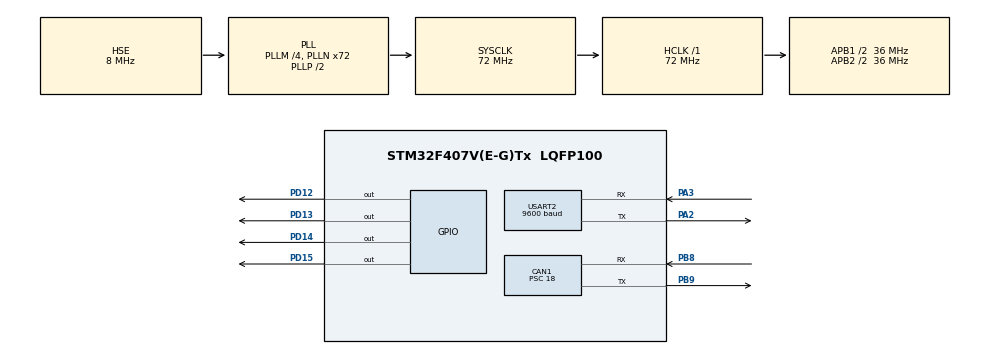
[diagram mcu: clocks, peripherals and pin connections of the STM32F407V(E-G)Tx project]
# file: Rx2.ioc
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CAN1.BS1=CAN_BS1_2TQ
CAN1.CalculateBaudRate=500000
CAN1.CalculateTimeBit=2000
CAN1.CalculateTimeQuantum=500.0
CAN1.Prescaler=18
Mcu.Family=STM32F4
Mcu.Name=STM32F407V(E-G)Tx
Mcu.Package=LQFP100
NVIC.CAN1_RX0_IRQn=true\:0\:0\:false\:false\:true\:true\:true\:true
NVIC.PriorityGroup=NVIC_PRIORITYGROUP_0
PA2.Mode=Asynchronous
PA2.Signal=USART2_TX
PA3.Mode=Asynchronous
PA3.Signal=USART2_RX
PB8.Mode=CAN_Activate
PB8.Signal=CAN1_RX
PB9.Mode=CAN_Activate
PB9.Signal=CAN1_TX
PD12.Signal=GPIO_Output
PD13.Signal=GPIO_Output
PD14.Signal=GPIO_Output
PD15.Signal=GPIO_Output
PH0-OSC_IN.Mode=HSE-External-Oscillator
PH0-OSC_IN.Signal=RCC_OSC_IN
PH1-OSC_OUT.Mode=HSE-External-Oscillator
PH1-OSC_OUT.Signal=RCC_OSC_OUT
ProjectManager.HeapSize=0x200
ProjectManager.StackSize=0x400
ProjectManager.TargetToolchain=STM32CubeIDE
RCC.48MHZClocksFreq_Value=20571428.57142857
RCC.AHBFreq_Value=72000000
RCC.APB1CLKDivider=RCC_HCLK_DIV2
RCC.APB1Freq_Value=36000000
RCC.APB1TimFreq_Value=72000000
RCC.APB2CLKDivider=RCC_HCLK_DIV2
RCC.APB2Freq_Value=36000000
RCC.APB2TimFreq_Value=72000000
RCC.CortexFreq_Value=72000000
RCC.HCLKFreq_Value=72000000
RCC.HSE_VALUE=8000000
RCC.HSI_VALUE=16000000
RCC.LSE_VALUE=32768
RCC.PLLM=4
RCC.PLLN=72
RCC.PLLQ=7
RCC.PLLSourceVirtual=RCC_PLLSOURCE_HSE
RCC.SYSCLKFreq_VALUE=72000000
RCC.SYSCLKSource=RCC_SYSCLKSOURCE_PLLCLK
RCC.VCOOutputFreq_Value=144000000
USART2.BaudRate=9600
USART2.VirtualMode=VM_ASYNC
board=STM32F407G-DISC1

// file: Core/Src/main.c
/* USER CODE BEGIN Header */
/**
  ******************************************************************************
  * @file           : main.c
  * @brief          : Main program body
  ******************************************************************************
  * @attention
  *
  * Copyright (c) 2023 STMicroelectronics.
  * All rights reserved.
  *
  * This software is licensed under terms that can be found in the LICENSE file
  * in the root directory of this software component.
  * If no LICENSE file comes with this software, it is provided AS-IS.
  *
  ******************************************************************************
  */
/* USER CODE END Header */
#include "main.h"

/* USER CODE BEGIN Includes */
#include<stdio.h>
#include<string.h>
/* USER CODE END Includes */

CAN_HandleTypeDef hcan1;
UART_HandleTypeDef huart2;

void SystemClock_Config(void);
static void MX_GPIO_Init(void);
static void MX_CAN1_Init(void);
static void MX_USART2_UART_Init(void);

/* USER CODE BEGIN 0 */
CAN_RxHeaderTypeDef RxHeader;
uint8_t RxData[10];
uint8_t flag =0;
char str[20];

void HAL_CAN_RxFifo0MsgPendingCallback(CAN_HandleTypeDef *hcan){

	HAL_CAN_GetRxMessage(&hcan1, CAN_RX_FIFO0, &RxHeader, RxData);
	HAL_GPIO_WritePin(GPIOD, GPIO_PIN_15, GPIO_PIN_SET); // blue
	flag =1;

}

//void HAL_CAN_RxFifo0MsgPendingCallback(CAN_HandleTypeDef *hcan) {
//  if (HAL_CAN_GetRxMessage(&hcan1, CAN_RX_FIFO0, &RxHeader,RxData) == HAL_OK) {
//    uint16_t receivedValue = (RxData[0] << 8) | RxData[1];
//    char uartTxBuffer[50];
//    sprintf(uartTxBuffer, "Received ADC value: %d\r\n", receivedValue);
//    HAL_UART_Transmit(&huart2, (uint8_t *)uartTxBuffer, strlen(uartTxBuffer), HAL_MAX_DELAY);
//  }
//}
/* USER CODE END 0 */

int main(void)
{

  /* MCU Configuration--------------------------------------------------------*/

  /* Reset of all peripherals, Initializes the Flash interface and the Systick. */
  HAL_Init();

  /* Configure the system clock */
  SystemClock_Config();

  /* Initialize all configured peripherals */
  MX_GPIO_Init();
  MX_CAN1_Init();
  MX_USART2_UART_Init();
  /* USER CODE BEGIN 2 */
  HAL_CAN_Start(&hcan1);
  HAL_CAN_ActivateNotification(&hcan1, CAN_IT_RX_FIFO0_MSG_PENDING);
  HAL_Delay(100);
  /* USER CODE END 2 */

  /* Infinite loop */
  /* USER CODE BEGIN WHILE */
  while (1)
  {
	  		if(flag == 1){
	  			HAL_GPIO_WritePin(GPIOD, GPIO_PIN_14, GPIO_PIN_SET);
	  			sprintf(str,"Rain value is %d\r\n",RxData[0]);
	  			HAL_UART_Transmit(&huart2, (uint8_t *)str, strlen(str), HAL_MAX_DELAY);
	  			HAL_Delay(1000);
	  		}

    /* USER CODE END WHILE */

  }
}

void SystemClock_Config(void)
{
  RCC_OscInitTypeDef RCC_OscInitStruct = {0};
  RCC_ClkInitTypeDef RCC_ClkInitStruct = {0};

  /** Configure the main internal regulator output voltage
  */
  __HAL_RCC_PWR_CLK_ENABLE();
  __HAL_PWR_VOLTAGESCALING_CONFIG(PWR_REGULATOR_VOLTAGE_SCALE1);

  /** Initializes the RCC Oscillators according to the specified parameters
  * in the RCC_OscInitTypeDef structure.
  */
  RCC_OscInitStruct.OscillatorType = RCC_OSCILLATORTYPE_HSE;
  RCC_OscInitStruct.HSEState = RCC_HSE_ON;
  RCC_OscInitStruct.PLL.PLLState = RCC_PLL_ON;
  RCC_OscInitStruct.PLL.PLLSource = RCC_PLLSOURCE_HSE;
  RCC_OscInitStruct.PLL.PLLM = 4;
  RCC_OscInitStruct.PLL.PLLN = 72;
  RCC_OscInitStruct.PLL.PLLP = RCC_PLLP_DIV2;
  RCC_OscInitStruct.PLL.PLLQ = 7;
  if (HAL_RCC_OscConfig(&RCC_OscInitStruct) != HAL_OK)
  {
    Error_Handler();
  }

  /** Initializes the CPU, AHB and APB buses clocks
  */
  RCC_ClkInitStruct.ClockType = RCC_CLOCKTYPE_HCLK|RCC_CLOCKTYPE_SYSCLK
                              |RCC_CLOCKTYPE_PCLK1|RCC_CLOCKTYPE_PCLK2;
  RCC_ClkInitStruct.SYSCLKSource = RCC_SYSCLKSOURCE_PLLCLK;
  RCC_ClkInitStruct.AHBCLKDivider = RCC_SYSCLK_DIV1;
  RCC_ClkInitStruct.APB1CLKDivider = RCC_HCLK_DIV2;
  RCC_ClkInitStruct.APB2CLKDivider = RCC_HCLK_DIV2;

  if (HAL_RCC_ClockConfig(&RCC_ClkInitStruct, FLASH_LATENCY_2) != HAL_OK)
  {
    Error_Handler();
  }
}

static void MX_CAN1_Init(void)
{

  hcan1.Instance = CAN1;
  hcan1.Init.Prescaler = 18;
  hcan1.Init.Mode = CAN_MODE_NORMAL;
  hcan1.Init.SyncJumpWidth = CAN_SJW_1TQ;
  hcan1.Init.TimeSeg1 = CAN_BS1_2TQ;
  hcan1.Init.TimeSeg2 = CAN_BS2_1TQ;
  hcan1.Init.TimeTriggeredMode = DISABLE;
  hcan1.Init.AutoBusOff = DISABLE;
  hcan1.Init.AutoWakeUp = DISABLE;
  hcan1.Init.AutoRetransmission = DISABLE;
  hcan1.Init.ReceiveFifoLocked = DISABLE;
  hcan1.Init.TransmitFifoPriority = DISABLE;
  if (HAL_CAN_Init(&hcan1) != HAL_OK)
  {
    Error_Handler();
  }
  /* USER CODE BEGIN CAN1_Init 2 */
  CAN_FilterTypeDef canFilterConfig;
  canFilterConfig.FilterActivation=CAN_FILTER_ENABLE;
  canFilterConfig.SlaveStartFilterBank=14;
  canFilterConfig.FilterBank=2;
  canFilterConfig.FilterFIFOAssignment=CAN_RX_FIFO0;
  canFilterConfig.FilterScale=CAN_FILTERSCALE_32BIT;
  canFilterConfig.FilterMode=CAN_FILTERMODE_IDMASK;
  canFilterConfig.FilterMaskIdLow=0x0000;
  canFilterConfig.FilterMaskIdHigh=0xFF00;
  canFilterConfig.FilterIdLow=0x0000;
  canFilterConfig.FilterIdHigh=0x1500;
  HAL_CAN_ConfigFilter(&hcan1, &canFilterConfig);
  /* USER CODE END CAN1_Init 2 */

}

static void MX_USART2_UART_Init(void)
{

  huart2.Instance = USART2;
  huart2.Init.BaudRate = 9600;
  huart2.Init.WordLength = UART_WORDLENGTH_8B;
  huart2.Init.StopBits = UART_STOPBITS_1;
  huart2.Init.Parity = UART_PARITY_NONE;
  huart2.Init.Mode = UART_MODE_TX_RX;
  huart2.Init.HwFlowCtl = UART_HWCONTROL_NONE;
  huart2.Init.OverSampling = UART_OVERSAMPLING_16;
  if (HAL_UART_Init(&huart2) != HAL_OK)
  {
    Error_Handler();
  }

}

static void MX_GPIO_Init(void)
{
  GPIO_InitTypeDef GPIO_InitStruct = {0};

  /* GPIO Ports Clock Enable */
  __HAL_RCC_GPIOH_CLK_ENABLE();
  __HAL_RCC_GPIOA_CLK_ENABLE();
  __HAL_RCC_GPIOD_CLK_ENABLE();
  __HAL_RCC_GPIOB_CLK_ENABLE();

  /*Configure GPIO pin Output Level */
  HAL_GPIO_WritePin(GPIOD, GPIO_PIN_12|GPIO_PIN_13|GPIO_PIN_14|GPIO_PIN_15, GPIO_PIN_RESET);

  /*Configure GPIO pins : PD12 PD13 PD14 PD15 */
  GPIO_InitStruct.Pin = GPIO_PIN_12|GPIO_PIN_13|GPIO_PIN_14|GPIO_PIN_15;
  GPIO_InitStruct.Mode = GPIO_MODE_OUTPUT_PP;
  GPIO_InitStruct.Pull = GPIO_NOPULL;
  GPIO_InitStruct.Speed = GPIO_SPEED_FREQ_LOW;
  HAL_GPIO_Init(GPIOD, &GPIO_InitStruct);

}

void Error_Handler(void)
{
  __disable_irq();
  while (1)
  {
  }
}
